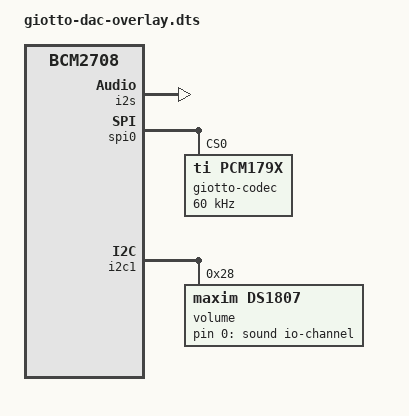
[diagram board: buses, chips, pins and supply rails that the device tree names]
/*
 * Definitions for Giotto DAC board
 */

/dts-v1/;
/plugin/;

/ {
	compatible = "brcm,bcm2708";

	fragment@1 {
		target = <&i2s>;
		__overlay__ {
			status = "okay";
		};
	};

	fragment@2 {
		target = <&spi0>;
		__overlay__ {
			#address-cells = <1>;
			#size-cells = <0>;
			status = "okay";

			giotto-codec {
				#sound-dai-cells = <0>;
				compatible = "ti,pcm179x";
				reg = <0>;
				spi-max-frequency = <60000>;
				status = "okay";
			};
		};
	};

	fragment@3 {
		target = <&sound>;
		__overlay__ {
			compatible = "bcm2708,bcm2708-audio-giotto";
			i2s-controller = <&i2s>;
			io-channels = <&volume 0>;
			#io-channel-cells = <1>;
			nreset = <&gpio 5 1>;
			status = "okay";
		};
	};

	fragment@4 {
		target = <&spidev0>;
		__overlay__ {
			status = "disabled";
		};
	};

	fragment@5 {
		target = <&i2c1>;
		__overlay__ {
			#address-cells = <1>;
			#size-cells = <0>;
			status = "okay";

			volume: ds1807@1 {
				compatible = "maxim,ds1807";
				reg = <0x28>;
				status = "okay";
				#io-channel-cells = <1>;
			};
		};
	};
};
